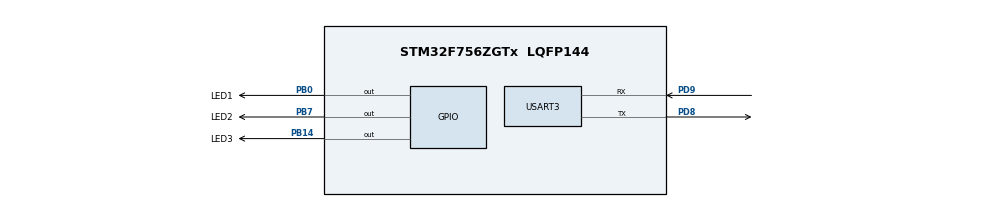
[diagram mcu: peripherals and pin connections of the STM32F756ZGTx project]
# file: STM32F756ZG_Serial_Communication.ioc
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CORTEX_M7.default_mode_Activation=1
Mcu.Family=STM32F7
Mcu.Name=STM32F756ZGTx
Mcu.Package=LQFP144
NVIC.PriorityGroup=NVIC_PRIORITYGROUP_4
NVIC.TIM2_IRQn=true\:0\:0\:false\:false\:true\:true\:true\:true
NVIC.TIM3_IRQn=true\:0\:0\:false\:false\:true\:true\:true\:true
NVIC.TIM4_IRQn=true\:0\:0\:false\:false\:true\:true\:true\:true
NVIC.USART3_IRQn=true\:0\:0\:false\:false\:true\:true\:true\:true
PB0.GPIO_Label=LED1
PB0.Signal=GPIO_Output
PB14.GPIO_Label=LED3
PB14.Signal=GPIO_Output
PB7.GPIO_Label=LED2
PB7.Signal=GPIO_Output
PD8.Mode=Asynchronous
PD8.Signal=USART3_TX
PD9.Mode=Asynchronous
PD9.Signal=USART3_RX
ProjectManager.HeapSize=0x200
ProjectManager.StackSize=0x400
ProjectManager.TargetToolchain=STM32CubeIDE
RCC.AHBFreq_Value=16000000
RCC.APB1Freq_Value=16000000
RCC.APB1TimFreq_Value=16000000
RCC.APB2Freq_Value=16000000
RCC.APB2TimFreq_Value=16000000
RCC.CortexFreq_Value=16000000
RCC.HCLKFreq_Value=16000000
RCC.HSE_VALUE=25000000
RCC.HSI_VALUE=16000000
RCC.LSE_VALUE=32768
RCC.USBFreq_Value=96000000
RCC.VCOOutputFreq_Value=192000000
TIM2.Period=5000
TIM2.Prescaler=10799
TIM3.Period=10000
TIM3.Prescaler=10799
TIM4.Period=30000
TIM4.Prescaler=10799
USART3.VirtualMode-Asynchronous=VM_ASYNC
VP_TIM2_VS_ClockSourceINT.Mode=Internal
VP_TIM3_VS_ClockSourceINT.Mode=Internal
VP_TIM4_VS_ClockSourceINT.Mode=Internal
board=custom

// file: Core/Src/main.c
/* USER CODE BEGIN Header */
/**
  ******************************************************************************
  * @file           : main.c
  * @brief          : Main program body
  ******************************************************************************
  * @attention
  *
  * Copyright (c) 2025 STMicroelectronics.
  * All rights reserved.
  *
  * This software is licensed under terms that can be found in the LICENSE file
  * in the root directory of this software component.
  * If no LICENSE file comes with this software, it is provided AS-IS.
  *
  ******************************************************************************
  */
/* USER CODE END Header */
#include "main.h"
#include "tim.h"
#include "usart.h"
#include "gpio.h"

/* USER CODE BEGIN Includes */
#include <stdbool.h>
#include "Modules/led_controller.h"
#include "Modules/pattern_controller.h"
#include "Modules/timer_handler.h"
#include "Modules/uart_handler.h"
#include "Modules/command_parser.h"
#include "Modules/module_wrappers.h"
/* USER CODE END Includes */

void SystemClock_Config(void);
static void MPU_Config(void);
/* USER CODE BEGIN PFP */
bool UART_Init(void);
/* USER CODE END PFP */

int main(void)
{

  /* MPU Configuration--------------------------------------------------------*/
  MPU_Config();

  /* MCU Configuration--------------------------------------------------------*/

  /* Reset of all peripherals, Initializes the Flash interface and the Systick. */
  HAL_Init();

  /* Configure the system clock */
  SystemClock_Config();

  /* Initialize all configured peripherals */
  MX_GPIO_Init();
  MX_TIM2_Init();
  MX_TIM3_Init();
  MX_TIM4_Init();
  MX_USART3_UART_Init();
  /* USER CODE BEGIN 2 */
  // Initialize modules
  LED_Init();
  PATTERN_Init();
  TIMER_Init();
  if (!UART_Init()) {
      // Que faire si l'UART échoue à l'init? Peut-être clignoter une LED d'erreur?
      // Pour l'instant, on continue, mais c'est un point d'attention.
  }
  COMMAND_Init();

  // Afficher le message de bienvenue et le premier prompt
  UART_SendString("\r\n\r\n--- Console Serie STM32F756ZG ---\r\n");
  UART_SendString("Tapez HELP pour la liste des commandes.\r\n");
  UART_SendString("STM32> "); // Afficher le premier prompt

  /* USER CODE END 2 */

  /* Infinite loop */
  /* USER CODE BEGIN WHILE */
  while (1)
  {
    COMMAND_Process();
    PATTERN_Process();
  /* USER CODE END WHILE */

  }
}
void SystemClock_Config(void)
{
  RCC_OscInitTypeDef RCC_OscInitStruct = {0};
  RCC_ClkInitTypeDef RCC_ClkInitStruct = {0};

  /** Configure the main internal regulator output voltage
  */
  __HAL_RCC_PWR_CLK_ENABLE();
  __HAL_PWR_VOLTAGESCALING_CONFIG(PWR_REGULATOR_VOLTAGE_SCALE3);

  /** Initializes the RCC Oscillators according to the specified parameters
  * in the RCC_OscInitTypeDef structure.
  */
  RCC_OscInitStruct.OscillatorType = RCC_OSCILLATORTYPE_HSI;
  RCC_OscInitStruct.HSIState = RCC_HSI_ON;
  RCC_OscInitStruct.HSICalibrationValue = RCC_HSICALIBRATION_DEFAULT;
  RCC_OscInitStruct.PLL.PLLState = RCC_PLL_NONE;
  if (HAL_RCC_OscConfig(&RCC_OscInitStruct) != HAL_OK)
  {
    Error_Handler();
  }

  /** Initializes the CPU, AHB and APB buses clocks
  */
  RCC_ClkInitStruct.ClockType = RCC_CLOCKTYPE_HCLK|RCC_CLOCKTYPE_SYSCLK
                              |RCC_CLOCKTYPE_PCLK1|RCC_CLOCKTYPE_PCLK2;
  RCC_ClkInitStruct.SYSCLKSource = RCC_SYSCLKSOURCE_HSI;
  RCC_ClkInitStruct.AHBCLKDivider = RCC_SYSCLK_DIV1;
  RCC_ClkInitStruct.APB1CLKDivider = RCC_HCLK_DIV1;
  RCC_ClkInitStruct.APB2CLKDivider = RCC_HCLK_DIV1;

  if (HAL_RCC_ClockConfig(&RCC_ClkInitStruct, FLASH_LATENCY_0) != HAL_OK)
  {
    Error_Handler();
  }
}

 /* MPU Configuration */

void MPU_Config(void)
{
  MPU_Region_InitTypeDef MPU_InitStruct = {0};

  /* Disables the MPU */
  HAL_MPU_Disable();

  /** Initializes and configures the Region and the memory to be protected
  */
  MPU_InitStruct.Enable = MPU_REGION_ENABLE;
  MPU_InitStruct.Number = MPU_REGION_NUMBER0;
  MPU_InitStruct.BaseAddress = 0x0;
  MPU_InitStruct.Size = MPU_REGION_SIZE_4GB;
  MPU_InitStruct.SubRegionDisable = 0x87;
  MPU_InitStruct.TypeExtField = MPU_TEX_LEVEL0;
  MPU_InitStruct.AccessPermission = MPU_REGION_NO_ACCESS;
  MPU_InitStruct.DisableExec = MPU_INSTRUCTION_ACCESS_DISABLE;
  MPU_InitStruct.IsShareable = MPU_ACCESS_SHAREABLE;
  MPU_InitStruct.IsCacheable = MPU_ACCESS_NOT_CACHEABLE;
  MPU_InitStruct.IsBufferable = MPU_ACCESS_NOT_BUFFERABLE;

  HAL_MPU_ConfigRegion(&MPU_InitStruct);
  /* Enables the MPU */
  HAL_MPU_Enable(MPU_PRIVILEGED_DEFAULT);

}

void Error_Handler(void)
{
  __disable_irq();
  while (1)
  {
  }
}
